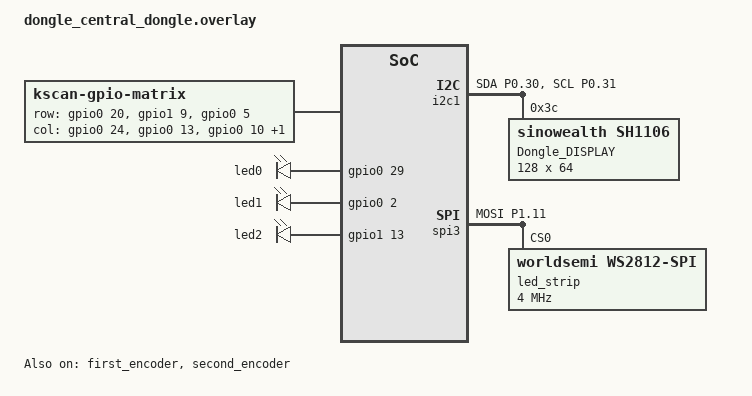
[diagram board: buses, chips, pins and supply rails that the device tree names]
#include "dongle.dtsi"
#include <dt-bindings/led/led.h>

&default_transform {
	col-offset = <5>;
};

&first_encoder {
    status = "okay";
};

&second_encoder {
    status = "okay";
};

/ {
    chosen {
        zmk,kscan = &kscan;
        zephyr,display = &oled;
        zmk,underglow = &led_strip;
    };

    kscan: kscan {
        compatible = "zmk,kscan-gpio-matrix";
        wakeup-source;
        diode-direction = "col2row";
        row-gpios
            = <&gpio0 20 (GPIO_ACTIVE_HIGH | GPIO_PULL_DOWN)>
            , <&gpio1 9 (GPIO_ACTIVE_HIGH | GPIO_PULL_DOWN)>
            , <&gpio0 5 (GPIO_ACTIVE_HIGH | GPIO_PULL_DOWN)>
            ;
        col-gpios
            = <&gpio0 24 GPIO_ACTIVE_HIGH>
            , <&gpio0 13 GPIO_ACTIVE_HIGH>
            , <&gpio0 10 GPIO_ACTIVE_HIGH>
            , <&gpio0 9 GPIO_ACTIVE_HIGH>
            ;
    };
};

&pinctrl {
//for oled
    i2c1_default: i2c1_default {
        group1 {
            psels = <NRF_PSEL(TWIM_SDA, 0, 30)>,
                    <NRF_PSEL(TWIM_SCL, 0, 31)>;
        };
   };

    i2c1_sleep: i2c1_sleep {
        group1 {
            psels = <NRF_PSEL(TWIM_SDA, 0, 30)>,
                    <NRF_PSEL(TWIM_SCL, 0, 31)>;
            low-power-enable;
        };
    };

//for ws2812
    spi3_default: spi3_default {
        group1 {
            psels = <NRF_PSEL(SPIM_MOSI, 1, 11)>; 
        };
    };

    spi3_sleep: spi3_sleep {
        group1 {
            psels = <NRF_PSEL(SPIM_MOSI, 1, 11)>;
            low-power-enable;
        };
    };
};

//oled
&i2c1 {
	status = "okay";
	compatible = "nordic,nrf-twi";
	pinctrl-0 = <&i2c1_default>;
	pinctrl-1 = <&i2c1_sleep>;
	pinctrl-names = "default", "sleep";
    
	oled: ssd1306@3c {
        // 分辨率修改
        width = <128>;
		height = <64>;

        // 0.91或0.96，使用以下
        //compatible = "solomon,ssd1306fb";   //0.91   0.96
        //segment-offset = <0>;   //0.91   0.96
        //multiplex-ratio = <63>; //128*64
        //com-sequential; //1.30注销本行
        
        // 1.30，使用以下
        compatible = "sinowealth,sh1106";   //1.30
        segment-offset = <2>;   //1.30
		multiplex-ratio = <63>; //128*64
        
		reg = <0x3c>;
		label = "Dongle_DISPLAY";
		page-offset = <0>;
		display-offset = <0>;
		segment-remap;
		com-invdir;
        inversion-on;   // 翻转颜色
		prechargep = <0x22>;
	};
};


    
//ws2812
&spi3 {
    compatible = "nordic,nrf-spim";
    status = "okay";

    pinctrl-0 = <&spi3_default>;
    pinctrl-1 = <&spi3_sleep>;
    pinctrl-names = "default", "sleep";

    led_strip: ws2812@0 {
        compatible = "worldsemi,ws2812-spi";

        /* SPI */
        reg = <0>; /* ignored, but necessary for SPI bindings */
        spi-max-frequency = <4000000>;

        /* WS2812 */
        chain-length = <7>; /* arbitrary; change at will */
        spi-one-frame = <0x70>;
        spi-zero-frame = <0x40>;
        color-mapping = <LED_COLOR_ID_GREEN
                         LED_COLOR_ID_RED
                         LED_COLOR_ID_BLUE>;
    };
};


/ {
    aliases {
        led-red = &led0;
        led-green = &led1;
        led-blue = &led2;
    };

    leds {
        compatible = "gpio-leds";
        status = "okay";
        led0: led_0 {
            gpios = <&gpio0 29 GPIO_ACTIVE_HIGH>;  // red LED
        };
        led1: led_1 {
            gpios = <&gpio0 2 GPIO_ACTIVE_HIGH>;  // green LED
        };
        led2: led_2 {
            gpios = <&gpio1 13 GPIO_ACTIVE_HIGH>;  // blue LED
        };
    };
};


